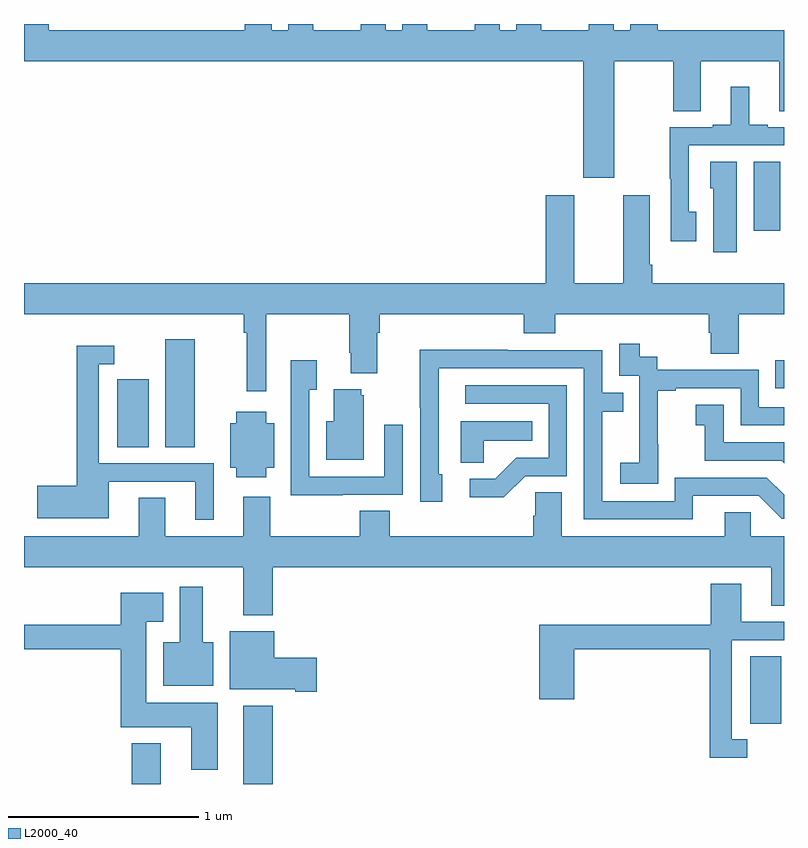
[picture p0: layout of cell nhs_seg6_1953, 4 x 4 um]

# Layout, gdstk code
import gdstk
lib = gdstk.Library(unit=1e-6, precision=1e-09)
def R(c, l, rs):  # rectangles x0, y0, x1, y1
    for r in rs: c.add(gdstk.rectangle(r[:2], r[2:], *l))
def P(c, l, *ps):  # polygons
    for p in ps: c.add(gdstk.Polygon(p, *l))
L2000_40 = (2000, 40)

nhs_seg6_1953 = lib.new_cell('nhs_seg6_1953')
R(nhs_seg6_1953, L2000_40, [(227.567,975.5,227.719,975.715), (228.155,975.5,228.308,975.913), (230.822,975.816,230.986,976.172), (227.492,977.272,227.656,977.629), (227.744,977.272,227.899,977.842), (230.953,977.583,231,977.731), (230.84,978.411,230.98,978.776)])
P(nhs_seg6_1953, L2000_40, [(230.107,979.304),(230.416,979.304),(230.416,979.042),(230.563,979.042),(230.563,979.304),(230.975,979.304),(230.975,979.042),(231,979.042),(231,979.468),(230.336,979.468),(230.336,979.5),(230.192,979.5),(230.192,979.468),(230.104,979.468),(230.104,979.5),(229.973,979.5),(229.973,979.468),(229.723,979.468),(229.723,979.5),(229.592,979.5),(229.592,979.468),(229.504,979.468),(229.504,979.5),(229.373,979.5),(229.373,979.468),(229.123,979.468),(229.123,979.5),(228.992,979.5),(228.992,979.468),(228.904,979.468),(228.904,979.5),(228.773,979.5),(228.773,979.468),(228.523,979.468),(228.523,979.5),(228.392,979.5),(228.392,979.468),(228.304,979.468),(228.304,979.5),(228.161,979.5),(228.161,979.468),(227.131,979.468),(227.131,979.5),(227,979.5),(227,979.304),(229.943,979.304),(229.943,978.69),(230.107,978.69)],
  [(230.539,978.513),(230.499,978.513),(230.499,978.861),(231,978.861),(231,978.957),(230.914,978.957),(230.914,978.97),(230.818,978.97),(230.818,979.171),(230.72,979.171),(230.72,978.97),(230.624,978.97),(230.624,978.957),(230.398,978.957),(230.398,978.685),(230.403,978.685),(230.403,978.357),(230.539,978.357)],
  [(230.752,978.776),(230.612,978.776),(230.612,978.636),(230.627,978.636),(230.627,978.3),(230.752,978.3)],
  [(228.274,977.972),(228.712,977.972),(228.712,977.77),(228.719,977.77),(228.719,977.663),(228.859,977.663),(228.859,977.876),(228.872,977.876),(228.872,977.972),(229.631,977.972),(229.631,977.873),(229.796,977.873),(229.796,977.972),(230.603,977.972),(230.603,977.874),(230.615,977.874),(230.615,977.764),(230.763,977.764),(230.763,977.972),(231,977.972),(231,978.136),(230.306,978.136),(230.306,978.232),(230.293,978.232),(230.293,978.598),(230.153,978.598),(230.153,978.136),(229.897,978.136),(229.897,978.598),(229.745,978.598),(229.745,978.136),(227,978.136),(227,977.972),(228.157,977.972),(228.157,977.876),(228.172,977.876),(228.172,977.568),(228.274,977.568)],
  [(230.337,977.287),(230.336,977.287),(230.336,977.571),(230.431,977.571),(230.431,977.583),(230.772,977.583),(230.772,977.388),(231,977.388),(231,977.484),(230.868,977.484),(230.868,977.679),(230.334,977.679),(230.334,977.748),(230.242,977.748),(230.242,977.818),(230.133,977.818),(230.133,977.649),(230.238,977.649),(230.238,977.42),(230.237,977.42),(230.237,977.191),(230.139,977.191),(230.139,977.081),(230.337,977.081)],
  [(227.998,977.187),(227.394,977.187),(227.394,977.709),(227.476,977.709),(227.476,977.806),(227.278,977.806),(227.278,977.069),(227.07,977.069),(227.07,976.898),(227.446,976.898),(227.446,977.091),(227.9,977.091),(227.9,976.89),(227.998,976.89)],
  [(230.521,977.016),(230.868,977.016),(230.988,976.896),(231,976.896),(231,977.022),(230.91,977.112),(230.424,977.112),(230.424,976.989),(230.043,976.989),(230.043,977.458),(230.153,977.458),(230.153,977.559),(230.043,977.559),(230.043,977.784),(229.547,977.784),(229.547,977.786),(229.084,977.786),(229.084,977.479),(229.086,977.479),(229.086,976.986),(229.201,976.986),(229.201,977.13),(229.182,977.13),(229.182,977.688),(229.947,977.688),(229.947,976.893),(230.521,976.893)],
  [(228.677,977.022),(228.993,977.022),(228.993,977.392),(228.897,977.392),(228.897,977.118),(228.501,977.118),(228.501,977.575),(228.541,977.575),(228.541,977.731),(228.404,977.731),(228.404,977.494),(228.405,977.494),(228.405,977.021),(228.677,977.021)],
  [(229.638,977.121),(229.857,977.121),(229.857,977.598),(229.323,977.598),(229.323,977.502),(229.761,977.502),(229.761,977.217),(229.592,977.217),(229.481,977.106),(229.347,977.106),(229.347,977.009),(229.525,977.009)],
  [(228.787,977.547),(228.776,977.547),(228.776,977.578),(228.629,977.578),(228.629,977.41),(228.59,977.41),(228.59,977.207),(228.787,977.207)],
  [(231,977.298),(230.682,977.298),(230.682,977.497),(230.535,977.497),(230.535,977.387),(230.584,977.387),(230.584,977.202),(230.987,977.202),(231,977.189)],
  [(228.274,977.165),(228.316,977.165),(228.316,977.398),(228.274,977.398),(228.274,977.458),(228.116,977.458),(228.116,977.398),(228.086,977.398),(228.086,977.165),(228.116,977.165),(228.116,977.114),(228.274,977.114)],
  [(229.419,977.306),(229.676,977.306),(229.676,977.41),(229.298,977.41),(229.298,977.191),(229.419,977.191)],
  [(228.308,976.64),(230.933,976.64),(230.933,976.438),(231,976.438),(231,976.804),(230.826,976.804),(230.826,976.931),(230.687,976.931),(230.687,976.804),(229.831,976.804),(229.831,977.036),(229.692,977.036),(229.692,976.913),(229.679,976.913),(229.679,976.804),(228.926,976.804),(228.926,976.937),(228.766,976.937),(228.766,976.804),(228.295,976.804),(228.295,977.011),(228.155,977.011),(228.155,976.804),(227.743,976.804),(227.743,977.006),(227.603,977.006),(227.603,976.804),(227,976.804),(227,976.64),(228.155,976.64),(228.155,976.388),(228.308,976.388)],
  [(230.806,975.735),(230.724,975.735),(230.724,976.257),(231,976.257),(231,976.353),(230.776,976.353),(230.776,976.555),(230.615,976.555),(230.615,976.339),(229.712,976.339),(229.712,975.945),(229.895,975.945),(229.895,976.21),(230.608,976.21),(230.608,975.638),(230.806,975.638)],
  [(227.995,976.246),(227.941,976.246),(227.941,976.537),(227.819,976.537),(227.819,976.246),(227.732,976.246),(227.732,976.016),(227.995,976.016)],
  [(228.019,975.928),(227.644,975.928),(227.644,976.355),(227.734,976.355),(227.734,976.507),(227.51,976.507),(227.51,976.339),(227,976.339),(227,976.21),(227.51,976.21),(227.51,975.8),(227.879,975.8),(227.879,975.576),(228.019,975.576)],
  [(228.541,976.164),(228.316,976.164),(228.316,976.303),(228.083,976.303),(228.083,975.998),(228.428,975.998),(228.428,975.986),(228.541,975.986)])

lib.write_gds('nhs_seg6_1953.gds')
